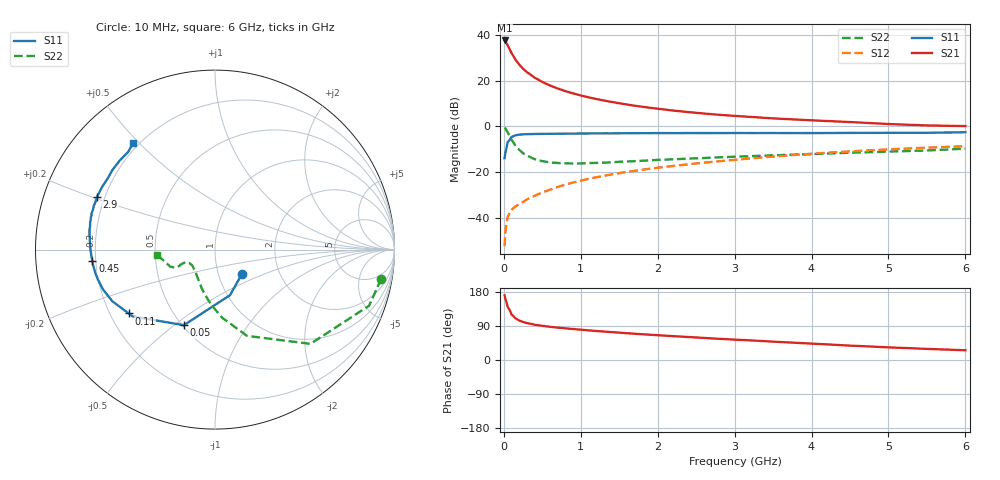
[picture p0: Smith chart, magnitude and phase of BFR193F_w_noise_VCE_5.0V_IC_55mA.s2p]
! Infineon Technologies  Discrete & RF Semiconductors
! BFR193F
! VCE =  5.0 V,  IC =  55 mA
! Common Emitter S-Parameters:  Jan 2017
# GHz  S  MA  R  50
!  f  S11  S21  S12  S22
! GHz  MAG  ANG  MAG  ANG  MAG  ANG  MAG  ANG
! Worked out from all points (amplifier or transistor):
!   77 points, 10 MHz to 6 GHz, reference 50 ohm
!   highest |S21| = 37.7 dB at 10 MHz (marker M1)
!   |S21| within 3 dB of that: start of sweep to 63.64 MHz
!   unconditionally stable (mu >= 1): 770.9 MHz to 2.494 GHz
!   at 130 MHz: K = 0.51, MSG = 33.1 dB, |S12| = -35.6 dB
!   at 2.2 GHz: K = 1.01, MAG = 11.4 dB, |S12| = -17.3 dB
!   at 6 GHz: K = 0.86, MSG = 4.4 dB, |S12| = -8.6 dB
!   lowest NFmin = 1.56 dB at 450 MHz
!   S11 on the Smith chart (normalised r, x): 10 MHz: 1.30, -0.36; 50 MHz: 0.51, -0.54; 110 MHz: 0.28, -0.31; 450 MHz: 0.19, -0.05; 2.9 GHz: 0.17, +0.21; 6 GHz: 0.18, +0.48
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0.01  0.202 -41.5  76.36 170.7  0.0024 87.2  0.9401 -10.0
0.02  0.2672 -71.7  73.53 161.4  0.005 80.5  0.9136 -20.0
0.05  0.4555 -112.4  59.94 140.1  0.0104 63.2  0.7478 -44.6
0.1  0.5906 -140.9  40.43 120.0  0.015 53.7  0.5128 -69.6
0.11  0.5982 -143.5  38.12 118.5  0.0155 53.4  0.4846 -71.8
0.15  0.6405 -153.3  29.23 110.2  0.0177 52.6  0.3817 -84.0
0.2  0.6621 -160.4  22.64 104.2  0.02 54.1  0.3086 -93.8
0.25  0.6727 -165.3  18.37 100.3  0.0223 58.0  0.2597 -102.0
0.3  0.6787 -168.4  15.47 97.4  0.0253 60.0  0.2305 -108.3
0.4  0.6851 -173.0  11.71 93.1  0.0303 63.9  0.1928 -118.6
0.45  0.6865 -174.6  10.56 91.8  0.0331 65.6  0.1831 -122.2
0.6  0.6915 -178.5  7.89 87.6  0.0412 69.2  0.1632 -132.6
0.7  0.6946 179.3  6.782 85.4  0.0474 70.6  0.1589 -137.2
0.9  0.6992 176.1  5.298 81.7  0.0593 72.1  0.1548 -144.5
1.1  0.7037 173.3  4.351 78.2  0.0714 73.3  0.1581 -148.8
1.5  0.7095 168.7  3.221 72.2  0.0952 74.2  0.1685 -154.2
2.1  0.716 162.8  2.339 64.2  0.1309 73.6  0.1884 -156.7
2.9  0.7187 156.1  1.753 54.9  0.1797 72.0  0.2145 -155.9
3.1  0.7192 154.4  1.664 52.8  0.1926 71.4  0.2209 -155.4
4.1  0.7183 145.7  1.34 42.2  0.2593 67.1  0.2518 -156.8
5.1  0.7265 135.9  1.116 32.5  0.3208 61.3  0.2848 -165.7
6  0.7476 127.5  1.019 25.7  0.3703 56.0  0.3268 -174.9
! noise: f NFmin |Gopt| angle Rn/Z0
0.45  1.56  0.48  -179  0.07
0.9  1.64  0.49  -177  0.08
1.9  2.22  0.6  -163  0.1
2.4  2.54  0.62  -155  0.16
